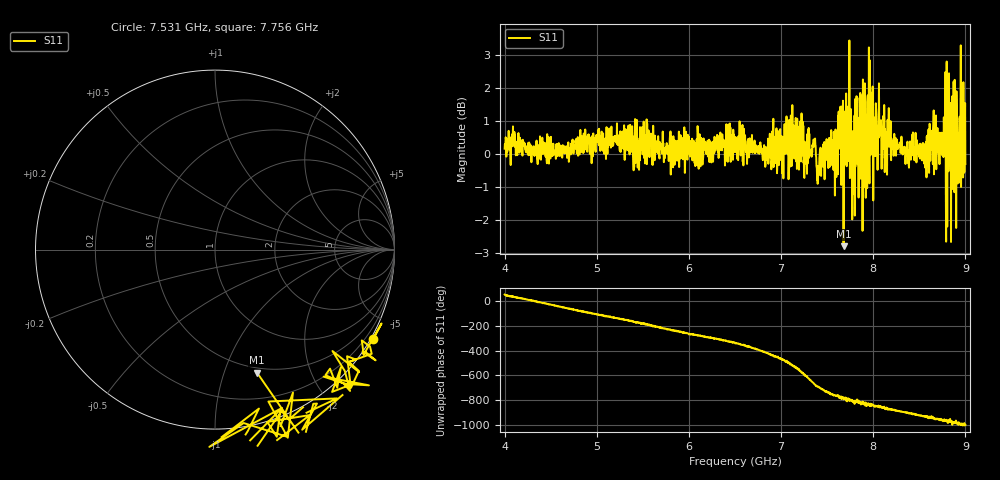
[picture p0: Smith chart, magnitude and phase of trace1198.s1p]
! Created with skrf 1.8.0 (http://scikit-rf.org).
# Hz S RI R 50.0
!freq ReS11 ImS11
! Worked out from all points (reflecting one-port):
!   1601 points, 4 GHz to 9 GHz, reference 50 ohm
!   lowest |S11| = -2.8 dB at 7.678 GHz (marker M1), VSWR 6.24, Z = 22.5 - j64.9 ohm
!   phase of S11 starts at 54 deg and turns -1057 deg over the sweep
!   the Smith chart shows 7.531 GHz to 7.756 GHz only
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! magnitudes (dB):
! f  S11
! 4 GHz  0.2
! 4.625 GHz  -0.1
! 5.25 GHz  0.1
! 5.875 GHz  0.2
! 6.5 GHz  0.3
! 6.825 GHz  0.1
! 7.125 GHz  0.9
! 7.216 GHz  -0.2
! 7.262 GHz  -0.3
! 7.353 GHz  0.4
! 7.409 GHz  -0.7
! 7.481 GHz  0.2
! 7.591 GHz  0.7
! 7.65 GHz  0.6
! 7.678 GHz  -2.8
! 7.719 GHz  -0.2
! 7.75 GHz  0.2
! 7.784 GHz  -0.2
! 7.803 GHz  1.7
! 7.891 GHz  1.2
! 7.909 GHz  2.1
! 7.962 GHz  2.8
! 7.981 GHz  0.0
! 8.375 GHz  0.2
! 8.834 GHz  1.6
! 8.919 GHz  -0.5
! 8.953 GHz  -1.0
! 9 GHz  -0.3
